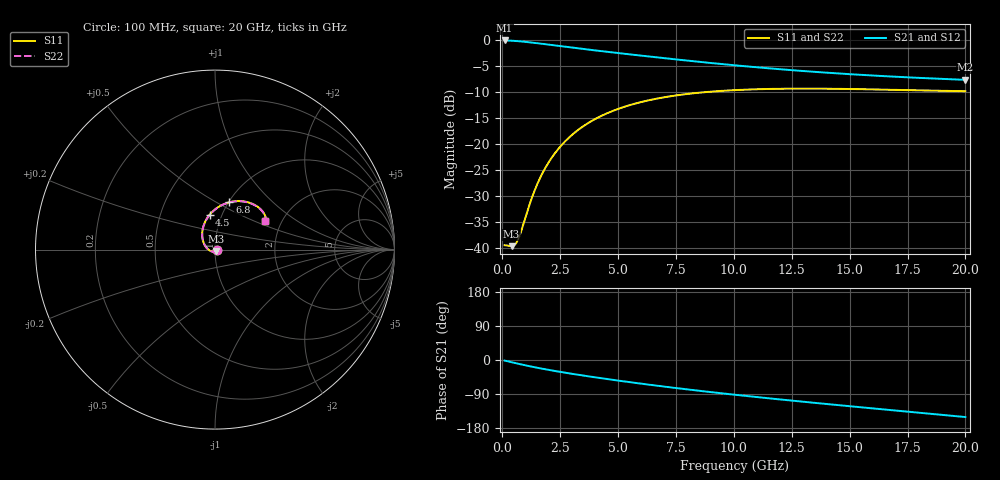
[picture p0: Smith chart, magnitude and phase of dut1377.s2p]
! Touchstone file exported from HFSS 2024.1.0
!  File:  C:/UserFiles/LocalFiles/RDL_TSV_Batchsim/temp_RDL_TSV_1377_1780400545.aedt
!  Generated:  07:56:38 PM Jun  2, 2026
!  Design:  RDL_TSV
!  Project:  temp_RDL_TSV_1377_1780400545
!  Setup:  Setup1
!  Solution:  Sweep
! Variables:
!  dtsv = 9.84um
!  hbump = 3um
!  htsv = 83.97um
!  ldown = 137.89um
!  lrdl = 365.1um
!  p = 40
!  p1 = 57.35um
!  rhole = 10um
!  subl = 1874.07um
!  t = 450um
!  tdown = 4.69um
!  trdl = 2.69um
!  viad = 10um
!  wdown = 29.72um
!  wrdl = 22.72um
!  xbump = 18um
# GHz S MA R 50.000000
! Terminal data exported
! Port[1] = TM1_1_T1
! Port[2] = TM1_4_T1
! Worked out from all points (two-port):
!   200 points, 100 MHz to 20 GHz, reference 50 ohm
!   highest |S21| = -0.10 dB at 100 MHz (marker M1); lowest = -7.7 dB at 20 GHz (marker M2)
!   |S21| within 3 dB of the highest: start of sweep to 6.157 GHz
!   lowest |S11| = -39.7 dB at 400 MHz (marker M3), VSWR 1.02, Z = 50.6 - j0.816 ohm
!   |S11| at or under -10 dB: start of sweep to 8.877 GHz
!   |S22| runs from -39.7 to -9.4 dB; largest |S21 - S12| = 1.8e-14
!   S11 on the Smith chart (normalised r, x): 100 MHz: 1.02, -0.00; 4.5 GHz: 0.87, +0.35; 6.8 GHz: 1.01, +0.58; 20 GHz: 1.64, +0.59
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0.1  0.01056 -10.7  0.9889 -1.5  0.9889 -1.5  0.01057 -10.7
! Gamma 0 0 0 0
! Port Impedance 50 0 50 0
0.4  0.01035 -51.1  0.983 -5.9  0.983 -5.9  0.01036 -51.1
0.5  0.01049 -68.3  0.98 -7.3  0.98 -7.3  0.0105 -68.2
0.6  0.01106 -86.6  0.9765 -8.7  0.9765 -8.7  0.01107 -86.5
0.7  0.01223 -104.6  0.9726 -10.1  0.9726 -10.1  0.01224 -104.4
1.2  0.027 -164.9  0.9482 -16.7  0.9482 -16.7  0.02694 -164.8
1.4  0.0357 -178.6  0.9368 -19.2  0.9368 -19.2  0.03562 -178.5
1.6  0.04531 170.6  0.925 -21.6  0.925 -21.6  0.0452 170.7
1.9  0.06087 157.6  0.907 -25.0  0.907 -25.0  0.06072 157.7
2.2  0.07721 147.0  0.8892 -28.2  0.8892 -28.2  0.07701 147.1
2.6  0.09942 135.4  0.866 -32.4  0.866 -32.4  0.09914 135.4
3  0.1214 125.7  0.844 -36.3  0.844 -36.3  0.1211 125.7
3.5  0.1479 115.4  0.818 -41.1  0.818 -41.1  0.1475 115.4
4.5  0.1958 98.9  0.7703 -50.0  0.7703 -50.0  0.1952 98.9
5.6  0.2393 85.0  0.7227 -59.3  0.7227 -59.3  0.2386 85.0
6.8  0.2759 73.0  0.6753 -68.8  0.6753 -68.8  0.275 73.0
8.4  0.3092 60.7  0.6192 -80.5  0.6192 -80.5  0.3082 60.6
10.1  0.3294 50.7  0.5686 -92.1  0.5686 -92.1  0.3283 50.6
11.7  0.3382 43.6  0.5291 -102.3  0.5291 -102.3  0.337 43.5
13.4  0.3401 37.9  0.4947 -112.6  0.4947 -112.6  0.3388 37.9
16.7  0.3318 31.4  0.4458 -131.7  0.4458 -131.7  0.3305 31.4
20  0.3213 29.9  0.4133 -150.6  0.4133 -150.6  0.32 29.8
